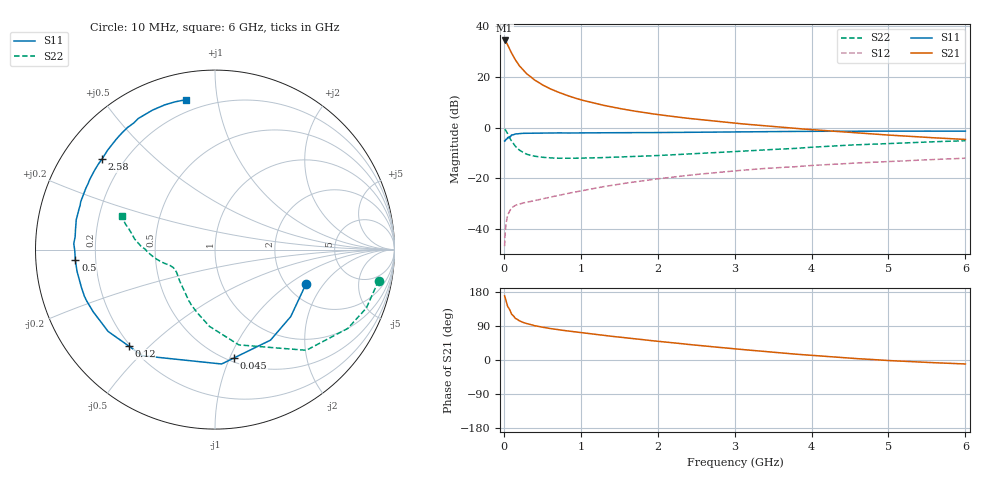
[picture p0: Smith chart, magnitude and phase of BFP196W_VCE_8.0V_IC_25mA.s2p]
! Infineon Technologies  Discrete & RF Semiconductors
! BFP196W
! VCE = 8.0 V,  IC =  25mA
! Common Emitter S-Parameters:  Jan 2016
# GHz  S  MA  R  50
!  f  S11  S21  S12  S22
! GHz  MAG  ANG  MAG  ANG  MAG  ANG  MAG  ANG
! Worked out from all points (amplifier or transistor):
!   210 points, 10 MHz to 6 GHz, reference 50 ohm
!   highest |S21| = 34.4 dB at 10 MHz (marker M1)
!   |S21| within 3 dB of that: start of sweep to 70.01 MHz
!   unconditionally stable (mu >= 1): 850.9 MHz to 3.476 GHz; 3.792357 GHz to 3.800876 GHz
!   at 185 MHz: K = 0.36, MSG = 27.7 dB, |S12| = -30.3 dB
!   at 1.52 GHz: K = 1.12, MAG = 12.8 dB, |S12| = -22.2 dB
!   at 6 GHz: K = 0.94, MSG = 3.7 dB, |S12| = -12.1 dB
!   S11 on the Smith chart (normalised r, x): 10 MHz: 2.51, -1.37; 45 MHz: 0.53, -1.04; 120 MHz: 0.19, -0.43; 500 MHz: 0.12, -0.04; 2.58 GHz: 0.12, +0.35; 6 GHz: 0.13, +0.82
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0.01  0.5418 -20.9  52.22 169.4  0.0046 77.4  0.928 -10.7
0.02  0.5634 -41.5  51.44 162.4  0.0094 72.0  0.9039 -21.1
0.03  0.5917 -58.5  49 154.7  0.013 68.3  0.8604 -30.7
0.045  0.6132 -80.2  44.11 144.9  0.0174 58.0  0.7761 -43.1
0.05  0.6384 -86.7  42.8 141.2  0.0189 55.6  0.7573 -47.8
0.1  0.7163 -124.4  29.47 121.1  0.0263 41.5  0.5471 -76.0
0.12  0.7209 -131.9  26.19 117.4  0.0275 38.7  0.4942 -82.2
0.15  0.7501 -142.6  21.54 109.9  0.0293 34.9  0.4289 -94.1
0.2  0.7622 -153.1  16.68 103.6  0.0311 33.7  0.3618 -106.6
0.24  0.77 -158.2  14.24 100.1  0.0323 33.4  0.3325 -113.8
0.3  0.7734 -164.2  11.41 95.8  0.0339 34.2  0.2974 -123.0
0.4  0.7782 -171.0  8.665 90.5  0.0363 36.2  0.273 -133.1
0.5  0.7804 -175.7  6.987 86.5  0.0393 39.3  0.2604 -140.2
0.7  0.7875 177.5  5.046 80.2  0.0457 44.6  0.2491 -148.4
1.02  0.7873 169.8  3.471 71.8  0.0573 49.8  0.2504 -155.0
1.4  0.7906 162.0  2.555 62.6  0.0727 52.6  0.2592 -158.9
2.02  0.7999 150.7  1.794 49.1  0.0985 53.3  0.2821 -163.3
2.58  0.8067 141.3  1.421 37.5  0.1223 51.2  0.3113 -168.0
3.1  0.822 133.1  1.185 27.8  0.1445 47.8  0.3438 -173.0
4.1  0.8466 119.1  0.891 10.9  0.1829 40.9  0.4183 176.6
5.1  0.8531 108.3  0.698 -2.3  0.2179 33.6  0.4929 166.6
6  0.851 100.9  0.584 -10.5  0.2491 27.5  0.5506 160.2
